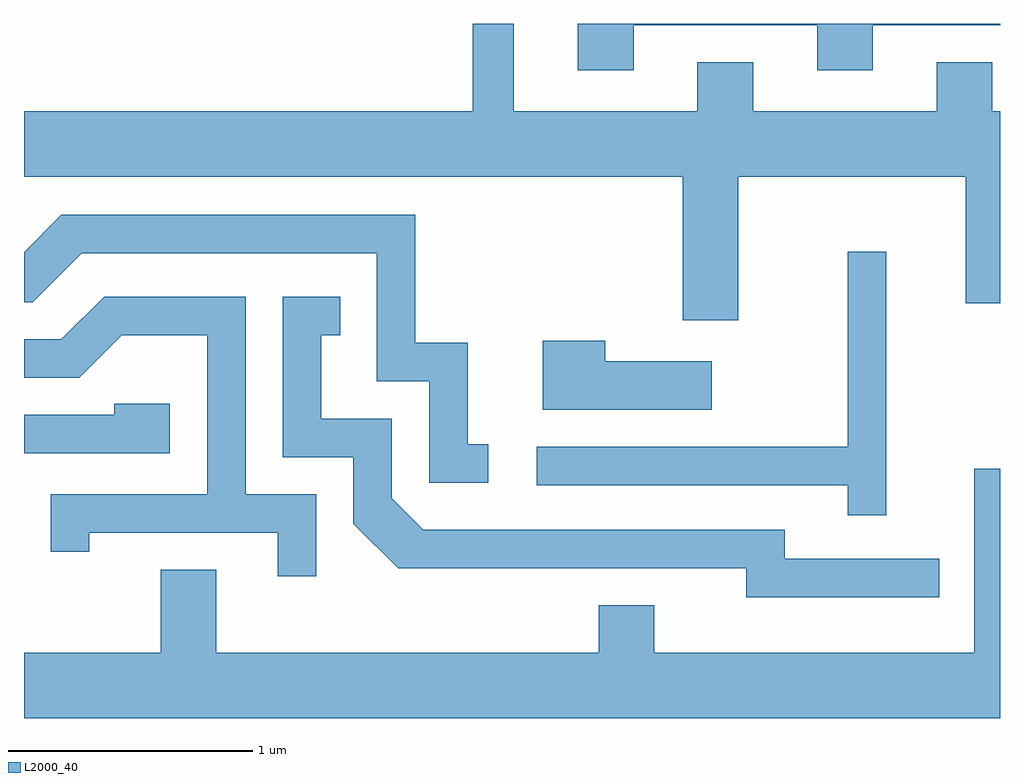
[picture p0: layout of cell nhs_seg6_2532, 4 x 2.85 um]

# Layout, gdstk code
import gdstk
lib = gdstk.Library(unit=1e-6, precision=1e-09)
def P(c, l, *ps):  # polygons
    for p in ps: c.add(gdstk.Polygon(p, *l))
L2000_40 = (2000, 40)

nhs_seg6_2532 = lib.new_cell('nhs_seg6_2532')
P(nhs_seg6_2532, L2000_40, [(264.109,1606.156),(264.861,1606.156),(264.861,1605.971),(265.089,1605.971),(265.089,1606.156),(265.611,1606.156),(265.611,1606.162),(263.881,1606.162),(263.881,1605.971),(264.109,1605.971)],
  [(264.539,1605.536),(265.471,1605.536),(265.471,1605.016),(265.611,1605.016),(265.611,1605.804),(265.579,1605.804),(265.579,1606.004),(265.351,1606.004),(265.351,1605.804),(264.599,1605.804),(264.599,1606.004),(264.371,1606.004),(264.371,1605.804),(263.619,1605.804),(263.619,1606.162),(263.451,1606.162),(263.451,1605.804),(261.611,1605.804),(261.611,1605.536),(264.311,1605.536),(264.311,1604.946),(264.539,1604.946)],
  [(263.513,1604.439),(263.429,1604.439),(263.429,1604.854),(263.214,1604.854),(263.214,1605.379),(261.764,1605.379),(261.611,1605.226),(261.611,1605.021),(261.647,1605.021),(261.847,1605.221),(263.056,1605.221),(263.056,1604.696),(263.271,1604.696),(263.271,1604.281),(263.513,1604.281)],
  [(265.144,1605.228),(264.986,1605.228),(264.986,1604.429),(263.713,1604.429),(263.713,1604.271),(264.986,1604.271),(264.986,1604.148),(265.144,1604.148)],
  [(265.363,1603.969),(264.729,1603.969),(264.729,1604.089),(263.247,1604.089),(263.119,1604.217),(263.119,1604.544),(262.829,1604.544),(262.829,1604.886),(262.908,1604.886),(262.908,1605.044),(262.671,1605.044),(262.671,1604.386),(262.961,1604.386),(262.961,1604.114),(263.144,1603.931),(264.571,1603.931),(264.571,1603.811),(265.363,1603.811)],
  [(262.809,1604.234),(262.519,1604.234),(262.519,1605.044),(261.939,1605.044),(261.764,1604.869),(261.611,1604.869),(261.611,1604.711),(261.837,1604.711),(262.012,1604.886),(262.361,1604.886),(262.361,1604.234),(261.721,1604.234),(261.721,1603.998),(261.879,1603.998),(261.879,1604.076),(262.651,1604.076),(262.651,1603.898),(262.809,1603.898)],
  [(264.429,1604.779),(263.994,1604.779),(263.994,1604.864),(263.736,1604.864),(263.736,1604.581),(264.429,1604.581)],
  [(262.209,1604.604),(261.981,1604.604),(261.981,1604.559),(261.611,1604.559),(261.611,1604.401),(262.209,1604.401)],
  [(265.611,1604.338),(265.506,1604.338),(265.506,1603.584),(264.194,1603.584),(264.194,1603.779),(263.966,1603.779),(263.966,1603.584),(262.399,1603.584),(262.399,1603.924),(262.171,1603.924),(262.171,1603.584),(261.611,1603.584),(261.611,1603.316),(265.611,1603.316)])

lib.write_gds('nhs_seg6_2532.gds')
